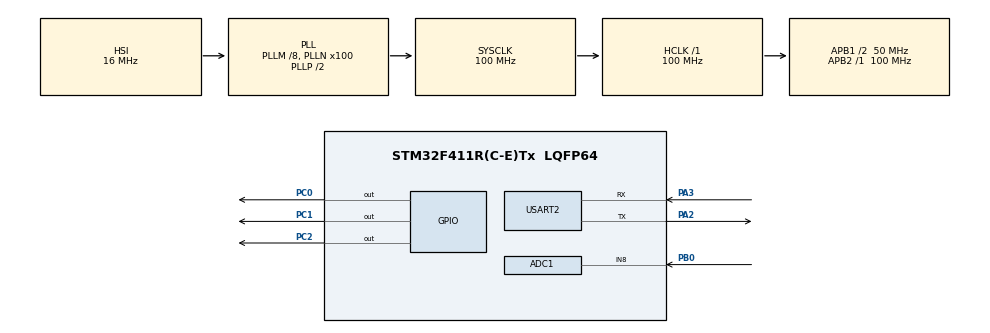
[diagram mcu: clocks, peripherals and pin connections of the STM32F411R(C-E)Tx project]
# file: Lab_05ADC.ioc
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ADC1.Channel-3\#ChannelRegularConversion=ADC_CHANNEL_8
ADC1.ContinuousConvMode=ENABLE
ADC1.EOCSelection=ADC_EOC_SEQ_CONV
ADC1.NbrOfConversionFlag=1
ADC1.Rank-3\#ChannelRegularConversion=1
ADC1.SamplingTime-3\#ChannelRegularConversion=ADC_SAMPLETIME_3CYCLES
ADC1.master=1
Mcu.Family=STM32F4
Mcu.Name=STM32F411R(C-E)Tx
Mcu.Package=LQFP64
NVIC.PriorityGroup=NVIC_PRIORITYGROUP_2
NVIC.TIM1_UP_TIM10_IRQn=true\:1\:0\:true\:false\:true\:true
NVIC.TIM2_IRQn=true\:2\:0\:true\:false\:true\:true
PA2.Mode=Asynchronous
PA2.Signal=USART2_TX
PA3.Mode=Asynchronous
PA3.Signal=USART2_RX
PB0.Signal=ADCx_IN8
PC0.Signal=GPIO_Output
PC1.Signal=GPIO_Output
PC2.Signal=GPIO_Output
ProjectManager.HeapSize=0x200
ProjectManager.StackSize=0x400
ProjectManager.TargetToolchain=MDK-ARM V5
RCC.48MHZClocksFreq_Value=50000000
RCC.AHBFreq_Value=100000000
RCC.APB1CLKDivider=RCC_HCLK_DIV2
RCC.APB1Freq_Value=50000000
RCC.APB1TimFreq_Value=100000000
RCC.APB2Freq_Value=100000000
RCC.APB2TimFreq_Value=100000000
RCC.CortexFreq_Value=100000000
RCC.HCLKFreq_Value=100000000
RCC.HSE_VALUE=25000000
RCC.HSI_VALUE=16000000
RCC.LSE_VALUE=32768
RCC.PLLM=8
RCC.PLLN=100
RCC.SYSCLKFreq_VALUE=100000000
RCC.SYSCLKSource=RCC_SYSCLKSOURCE_PLLCLK
RCC.VCOOutputFreq_Value=200000000
SH.ADCx_IN8.0=ADC1_IN8,IN8
TIM1.Period=1000-1
TIM1.Prescaler=100-1
TIM2.Period=700000-1
TIM2.Prescaler=100-1
USART2.VirtualMode=VM_ASYNC
VP_TIM1_VS_ClockSourceINT.Mode=Internal
VP_TIM2_VS_ClockSourceINT.Mode=Internal
board=custom

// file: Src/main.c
/* USER CODE BEGIN Header */
/**
  ******************************************************************************
  * @file           : main.c
  * @brief          : Main program body
  ******************************************************************************
  ** This notice applies to any and all portions of this file
  * that are not between comment pairs USER CODE BEGIN and
  * USER CODE END. Other portions of this file, whether
  * inserted by the user or by software development tools
  * are owned by their respective copyright owners.
  *
  * COPYRIGHT(c) 2019 STMicroelectronics
  *
  * Redistribution and use in source and binary forms, with or without modification,
  * are permitted provided that the following conditions are met:
  *   1. Redistributions of source code must retain the above copyright notice,
  *      this list of conditions and the following disclaimer.
  *   2. Redistributions in binary form must reproduce the above copyright notice,
  *      this list of conditions and the following disclaimer in the documentation
  *      and/or other materials provided with the distribution.
  *   3. Neither the name of STMicroelectronics nor the names of its contributors
  *      may be used to endorse or promote products derived from this software
  *      without specific prior written permission.
  *
  * THIS SOFTWARE IS PROVIDED BY THE COPYRIGHT HOLDERS AND CONTRIBUTORS "AS IS"
  * AND ANY EXPRESS OR IMPLIED WARRANTIES, INCLUDING, BUT NOT LIMITED TO, THE
  * IMPLIED WARRANTIES OF MERCHANTABILITY AND FITNESS FOR A PARTICULAR PURPOSE ARE
  * DISCLAIMED. IN NO EVENT SHALL THE COPYRIGHT HOLDER OR CONTRIBUTORS BE LIABLE
  * FOR ANY DIRECT, INDIRECT, INCIDENTAL, SPECIAL, EXEMPLARY, OR CONSEQUENTIAL
  * DAMAGES (INCLUDING, BUT NOT LIMITED TO, PROCUREMENT OF SUBSTITUTE GOODS OR
  * SERVICES; LOSS OF USE, DATA, OR PROFITS; OR BUSINESS INTERRUPTION) HOWEVER
  * CAUSED AND ON ANY THEORY OF LIABILITY, WHETHER IN CONTRACT, STRICT LIABILITY,
  * OR TORT (INCLUDING NEGLIGENCE OR OTHERWISE) ARISING IN ANY WAY OUT OF THE USE
  * OF THIS SOFTWARE, EVEN IF ADVISED OF THE POSSIBILITY OF SUCH DAMAGE.
  *
  ******************************************************************************
  */
/* USER CODE END Header */

#include "main.h"
#include "adc.h"
#include "tim.h"
#include "usart.h"
#include "gpio.h"

/* USER CODE BEGIN Includes */
#include "string.h"
/* USER CODE END Includes */

/* USER CODE BEGIN PV */
extern TIM_HandleTypeDef htim2;
/* USER CODE END PV */

void SystemClock_Config(void);

int main(void)
{

  /* MCU Configuration--------------------------------------------------------*/

  /* Reset of all peripherals, Initializes the Flash interface and the Systick. */
  HAL_Init();

  /* Configure the system clock */
  SystemClock_Config();

  /* Initialize all configured peripherals */
  MX_GPIO_Init();
  MX_ADC1_Init();
  MX_USART2_UART_Init();
  MX_TIM2_Init();
  MX_TIM1_Init();

  /* USER CODE BEGIN 2 */
	HAL_TIM_Base_Start_IT(&htim2);
  /* USER CODE END 2 */

  /* Infinite loop */
  /* USER CODE BEGIN WHILE */
	volatile uint32_t adc_val =0;

	HAL_ADC_Start(&hadc1);
  while (1)
  {
    /* USER CODE END WHILE */

    /* USER CODE BEGIN 3 */
		while( HAL_ADC_PollForConversion(&hadc1, 100) != HAL_OK);
		adc_val = HAL_ADC_GetValue(&hadc1);
			if(adc_val > 3001){
				LED(1000);
			}
			else if(adc_val  > 2001){
				LED(800);
			}
			else if(adc_val > 1001){
				LED(600);
			}
			else if(adc_val < 1000){
				LED(200);
			}
			else {
				GPIOC->ODR = 0x0;
			}
		/* PC0,PC1,PC2 */
		//HAL_GPIO_WritePin(GPIOC,GPIO_PIN_0,GPIO_PIN_SET);
  }
  /* USER CODE END 3 */
}

void SystemClock_Config(void)
{
  RCC_OscInitTypeDef RCC_OscInitStruct = {0};
  RCC_ClkInitTypeDef RCC_ClkInitStruct = {0};

  /**Configure the main internal regulator output voltage
  */
  __HAL_RCC_PWR_CLK_ENABLE();
  __HAL_PWR_VOLTAGESCALING_CONFIG(PWR_REGULATOR_VOLTAGE_SCALE1);
  /**Initializes the CPU, AHB and APB busses clocks
  */
  RCC_OscInitStruct.OscillatorType = RCC_OSCILLATORTYPE_HSI;
  RCC_OscInitStruct.HSIState = RCC_HSI_ON;
  RCC_OscInitStruct.HSICalibrationValue = RCC_HSICALIBRATION_DEFAULT;
  RCC_OscInitStruct.PLL.PLLState = RCC_PLL_ON;
  RCC_OscInitStruct.PLL.PLLSource = RCC_PLLSOURCE_HSI;
  RCC_OscInitStruct.PLL.PLLM = 8;
  RCC_OscInitStruct.PLL.PLLN = 100;
  RCC_OscInitStruct.PLL.PLLP = RCC_PLLP_DIV2;
  RCC_OscInitStruct.PLL.PLLQ = 4;
  if (HAL_RCC_OscConfig(&RCC_OscInitStruct) != HAL_OK)
  {
    Error_Handler();
  }
  /**Initializes the CPU, AHB and APB busses clocks
  */
  RCC_ClkInitStruct.ClockType = RCC_CLOCKTYPE_HCLK|RCC_CLOCKTYPE_SYSCLK
                              |RCC_CLOCKTYPE_PCLK1|RCC_CLOCKTYPE_PCLK2;
  RCC_ClkInitStruct.SYSCLKSource = RCC_SYSCLKSOURCE_PLLCLK;
  RCC_ClkInitStruct.AHBCLKDivider = RCC_SYSCLK_DIV1;
  RCC_ClkInitStruct.APB1CLKDivider = RCC_HCLK_DIV2;
  RCC_ClkInitStruct.APB2CLKDivider = RCC_HCLK_DIV1;

  if (HAL_RCC_ClockConfig(&RCC_ClkInitStruct, FLASH_LATENCY_3) != HAL_OK)
  {
    Error_Handler();
  }
}

/* USER CODE BEGIN 4 */
void displayHEX(uint32_t value){
	char str[13];
	sprintf(str,"%u\r\n",value);
	HAL_UART_Transmit(&huart2, (uint8_t*) str, strlen(str),1000);
}

void LED(int i){
	GPIOC->ODR = 0x4;
	HAL_Delay(i);
	GPIOC->ODR = 0x2;
	HAL_Delay(i);
	GPIOC->ODR = 0x1;
	HAL_Delay(i);
	GPIOC->ODR = 0x0;
}
/* USER CODE END 4 */

void Error_Handler(void)
{
}

/************************ (C) COPYRIGHT STMicroelectronics *****END OF FILE****/
